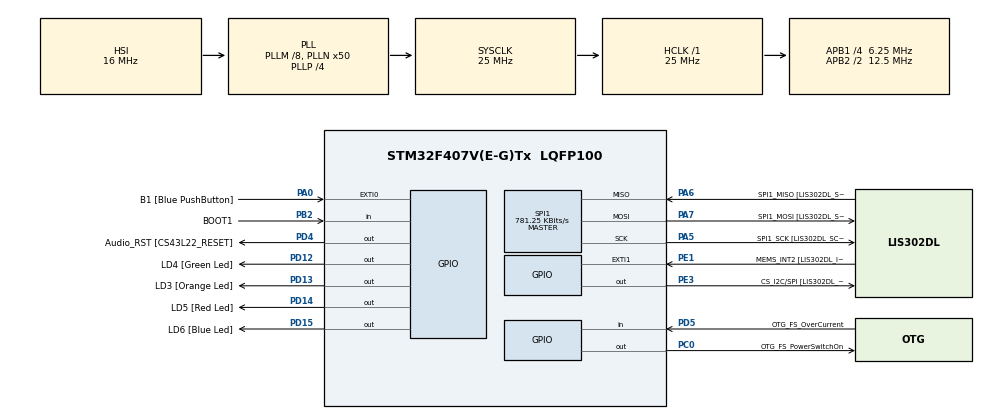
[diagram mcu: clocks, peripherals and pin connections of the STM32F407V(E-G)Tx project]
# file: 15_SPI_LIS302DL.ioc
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Mcu.Family=STM32F4
Mcu.Name=STM32F407V(E-G)Tx
Mcu.Package=LQFP100
NVIC.PriorityGroup=NVIC_PRIORITYGROUP_0
PA0-WKUP.GPIO_Label=B1 [Blue PushButton]
PA0-WKUP.Signal=GPXTI0
PA10.GPIO_Label=OTG_FS_ID
PA10.GPIO_Mode=GPIO_MODE_AF_PP
PA10.GPIO_PuPd=GPIO_NOPULL
PA10.GPIO_Speed=GPIO_SPEED_FREQ_LOW
PA10.Signal=USB_OTG_FS_ID
PA11.GPIO_Label=OTG_FS_DM
PA11.GPIO_Mode=GPIO_MODE_AF_PP
PA11.GPIO_PuPd=GPIO_NOPULL
PA11.GPIO_Speed=GPIO_SPEED_FREQ_LOW
PA11.Signal=USB_OTG_FS_DM
PA12.GPIO_Label=OTG_FS_DP
PA12.GPIO_Mode=GPIO_MODE_AF_PP
PA12.GPIO_PuPd=GPIO_NOPULL
PA12.GPIO_Speed=GPIO_SPEED_FREQ_LOW
PA12.Signal=USB_OTG_FS_DP
PA13.GPIO_Label=SWDIO
PA13.Signal=SYS_JTMS-SWDIO
PA14.GPIO_Label=SWCLK
PA14.Signal=SYS_JTCK-SWCLK
PA4.GPIO_Label=I2S3_WS [CS43L22_LRCK]
PA4.GPIO_Mode=GPIO_MODE_AF_PP
PA4.GPIO_PuPd=GPIO_NOPULL
PA4.GPIO_Speed=GPIO_SPEED_FREQ_LOW
PA4.Signal=I2S3_WS
PA5.GPIO_Label=SPI1_SCK [LIS302DL_SCL/SPC]
PA5.GPIO_Mode=GPIO_MODE_AF_PP
PA5.GPIO_PuPd=GPIO_NOPULL
PA5.GPIO_Speed=GPIO_SPEED_FREQ_LOW
PA5.Mode=Full_Duplex_Master
PA5.Signal=SPI1_SCK
PA6.GPIO_Label=SPI1_MISO [LIS302DL_SDO]
PA6.GPIO_Mode=GPIO_MODE_AF_PP
PA6.GPIO_PuPd=GPIO_NOPULL
PA6.GPIO_Speed=GPIO_SPEED_FREQ_LOW
PA6.Mode=Full_Duplex_Master
PA6.Signal=SPI1_MISO
PA7.GPIO_Label=SPI1_MOSI [LIS302DL_SDA/SDI/SDO]
PA7.GPIO_Mode=GPIO_MODE_AF_PP
PA7.GPIO_PuPd=GPIO_NOPULL
PA7.GPIO_Speed=GPIO_SPEED_FREQ_LOW
PA7.Mode=Full_Duplex_Master
PA7.Signal=SPI1_MOSI
PA9.GPIO_Label=VBUS_FS
PA9.GPIO_Mode=GPIO_MODE_INPUT
PA9.GPIO_PuPd=GPIO_NOPULL
PA9.Signal=USB_OTG_FS_VBUS
PB10.GPIO_Label=CLK_IN [MP45DT02_CLK]
PB10.GPIO_Mode=GPIO_MODE_AF_PP
PB10.GPIO_PuPd=GPIO_NOPULL
PB10.GPIO_Speed=GPIO_SPEED_FREQ_LOW
PB10.Signal=I2S2_CK
PB2.GPIO_Label=BOOT1
PB2.GPIO_Mode=GPIO_MODE_INPUT
PB2.GPIO_PuPd=GPIO_NOPULL
PB2.Signal=GPIO_Input
PB3.GPIO_Label=SWO
PB3.Signal=SYS_JTDO-SWO
PB6.GPIO_Label=Audio_SCL [CS43L22_SCL]
PB6.GPIO_Mode=GPIO_MODE_AF_OD
PB6.GPIO_PuPd=GPIO_NOPULL
PB6.GPIO_Speed=GPIO_SPEED_FREQ_LOW
PB6.Signal=I2C1_SCL
PB9.GPIO_Label=Audio_SDA [CS43L22_SDA]
PB9.GPIO_Mode=GPIO_MODE_AF_OD
PB9.GPIO_PuPd=GPIO_NOPULL
PB9.GPIO_Speed=GPIO_SPEED_FREQ_LOW
PB9.Signal=I2C1_SDA
PC0.GPIO_Label=OTG_FS_PowerSwitchOn
PC0.GPIO_PuPd=GPIO_NOPULL
PC0.GPIO_Speed=GPIO_SPEED_FREQ_LOW
PC0.PinState=GPIO_PIN_SET
PC0.Signal=GPIO_Output
PC10.GPIO_Label=I2S3_SCK [CS43L22_SCLK]
PC10.GPIO_Mode=GPIO_MODE_AF_PP
PC10.GPIO_PuPd=GPIO_NOPULL
PC10.GPIO_Speed=GPIO_SPEED_FREQ_LOW
PC10.Signal=I2S3_CK
PC12.GPIO_Label=I2S3_SD [CS43L22_SDIN]
PC12.GPIO_Mode=GPIO_MODE_AF_PP
PC12.GPIO_PuPd=GPIO_NOPULL
PC12.GPIO_Speed=GPIO_SPEED_FREQ_LOW
PC12.Signal=I2S3_SD
PC14-OSC32_IN.GPIO_Label=PC14-OSC32_IN
PC14-OSC32_IN.Signal=RCC_OSC32_IN
PC15-OSC32_OUT.GPIO_Label=PC15-OSC32_OUT
PC15-OSC32_OUT.Signal=RCC_OSC32_OUT
PC3.GPIO_Label=PDM_OUT [MP45DT02_DOUT]
PC3.GPIO_Mode=GPIO_MODE_AF_PP
PC3.GPIO_PuPd=GPIO_NOPULL
PC3.GPIO_Speed=GPIO_SPEED_FREQ_LOW
PC3.Signal=I2S2_SD
PC7.GPIO_Label=I2S3_MCK [CS43L22_MCLK]
PC7.GPIO_Mode=GPIO_MODE_AF_PP
PC7.GPIO_PuPd=GPIO_NOPULL
PC7.GPIO_Speed=GPIO_SPEED_FREQ_LOW
PC7.Signal=I2S3_MCK
PD12.GPIO_Label=LD4 [Green Led]
PD12.GPIO_PuPd=GPIO_NOPULL
PD12.GPIO_Speed=GPIO_SPEED_FREQ_LOW
PD12.Signal=GPIO_Output
PD13.GPIO_Label=LD3 [Orange Led]
PD13.GPIO_PuPd=GPIO_NOPULL
PD13.GPIO_Speed=GPIO_SPEED_FREQ_LOW
PD13.Signal=GPIO_Output
PD14.GPIO_Label=LD5 [Red Led]
PD14.GPIO_PuPd=GPIO_NOPULL
PD14.GPIO_Speed=GPIO_SPEED_FREQ_LOW
PD14.Signal=GPIO_Output
PD15.GPIO_Label=LD6 [Blue Led]
PD15.GPIO_PuPd=GPIO_NOPULL
PD15.GPIO_Speed=GPIO_SPEED_FREQ_LOW
PD15.Signal=GPIO_Output
PD4.GPIO_Label=Audio_RST [CS43L22_RESET]
PD4.GPIO_PuPd=GPIO_NOPULL
PD4.GPIO_Speed=GPIO_SPEED_FREQ_LOW
PD4.Signal=GPIO_Output
PD5.GPIO_Label=OTG_FS_OverCurrent
PD5.GPIO_Mode=GPIO_MODE_INPUT
PD5.GPIO_PuPd=GPIO_NOPULL
PD5.Signal=GPIO_Input
PE1.GPIO_Label=MEMS_INT2 [LIS302DL_INT2]
PE1.GPIO_ModeDefaultEXTI=GPIO_MODE_EVT_RISING
PE1.GPIO_PuPd=GPIO_NOPULL
PE1.Signal=GPXTI1
PE3.GPIO_Label=CS_I2C/SPI [LIS302DL_CS_I2C/SPI]
PE3.GPIO_PuPd=GPIO_NOPULL
PE3.GPIO_Speed=GPIO_SPEED_FREQ_LOW
PE3.Signal=GPIO_Output
PH0-OSC_IN.GPIO_Label=PH0-OSC_IN
PH0-OSC_IN.Signal=RCC_OSC_IN
PH1-OSC_OUT.GPIO_Label=PH1-OSC_OUT
PH1-OSC_OUT.Signal=RCC_OSC_OUT
ProjectManager.HeapSize=0x200
ProjectManager.StackSize=0x400
ProjectManager.TargetToolchain=STM32CubeIDE
RCC.48MHZClocksFreq_Value=14285714.285714285
RCC.AHBFreq_Value=25000000
RCC.APB1CLKDivider=RCC_HCLK_DIV4
RCC.APB1Freq_Value=6250000
RCC.APB1TimFreq_Value=12500000
RCC.APB2CLKDivider=RCC_HCLK_DIV2
RCC.APB2Freq_Value=12500000
RCC.APB2TimFreq_Value=25000000
RCC.CortexFreq_Value=25000000
RCC.HCLKFreq_Value=25000000
RCC.HSE_VALUE=8000000
RCC.HSI_VALUE=16000000
RCC.LSE_VALUE=32768
RCC.PLLM=8
RCC.PLLN=50
RCC.PLLP=RCC_PLLP_DIV4
RCC.PLLQ=7
RCC.SYSCLKFreq_VALUE=25000000
RCC.SYSCLKSource=RCC_SYSCLKSOURCE_PLLCLK
RCC.VCOOutputFreq_Value=100000000
SPI1.BaudRatePrescaler=SPI_BAUDRATEPRESCALER_16
SPI1.CalculateBaudRate=781.25 KBits/s
SPI1.Direction=SPI_DIRECTION_2LINES
SPI1.Mode=SPI_MODE_MASTER
SPI1.VirtualType=VM_MASTER
board=STM32F407G-DISC1

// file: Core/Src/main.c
/* USER CODE BEGIN Header */
/**
  ******************************************************************************
  * @file           : main.c
  * @brief          : Main program body
  ******************************************************************************
  * @attention
  *
  * Copyright (c) 2026 STMicroelectronics.
  * All rights reserved.
  *
  * This software is licensed under terms that can be found in the LICENSE file
  * in the root directory of this software component.
  * If no LICENSE file comes with this software, it is provided AS-IS.
  *
  ******************************************************************************
  */
/* USER CODE END Header */
#include "main.h"

SPI_HandleTypeDef hspi1;
int16_t X_Axis,Y_Axis,Z_Axis;
int8_t X_L,X_H,Y_L,Y_H,Z_L,Z_H;

/* USER CODE BEGIN PV */
uint8_t SPI_Read_MEMS(uint8_t address)
{
	uint8_t txData[1]={0},rxData[1]={0};

	txData[0]= address | 0x80;
	// Veri iletisimi baslar PE3 LOW'a cekilince.1- CS pinini LOW'a cek.
	HAL_GPIO_WritePin(GPIOE,GPIO_PIN_3,GPIO_PIN_RESET);
	// 2- Okunacak verinin adresini gonder.
	HAL_SPI_Transmit(&hspi1,txData,1,1000);
	// 3- Istenilen veriyi al.
	HAL_SPI_Receive(&hspi1,rxData,1,1000);
	// 4- CS pinini HIGH'a yukselt.
	HAL_GPIO_WritePin(GPIOE,GPIO_PIN_3,GPIO_PIN_SET); // Veri iletisimi tamamlandi.

	return rxData[0];
}
void SPI_Write_MEMS(uint8_t address,uint8_t data)
{
	uint8_t txData[2]={0};
	txData[0]= address; // yazma islemi icin bit 0 dir.
	txData[1]=data;
	// 1- CS  pini LOW a cekilir.
	HAL_GPIO_WritePin(GPIOE,GPIO_PIN_3,GPIO_PIN_RESET);
	// 2- Yazilacak veri gonderilir.
	HAL_SPI_Transmit(&hspi1,txData,2,HAL_MAX_DELAY);  // 2 Bytelik bir dizi gonderiyoruz demek.
	// 3- CS pinini HIGH yapariz.
	HAL_GPIO_WritePin(GPIOE,GPIO_PIN_3,GPIO_PIN_SET);

}

/* USER CODE END PV */

void SystemClock_Config(void);
static void MX_GPIO_Init(void);
static void MX_SPI1_Init(void);

int main(void)
{

  /* MCU Configuration--------------------------------------------------------*/

  /* Reset of all peripherals, Initializes the Flash interface and the Systick. */
  HAL_Init();

  /* Configure the system clock */
  SystemClock_Config();

  /* Initialize all configured peripherals */
  MX_GPIO_Init();
  MX_SPI1_Init();
  /* USER CODE BEGIN 2 */
  uint8_t WhoAmI=0;
  WhoAmI= SPI_Read_MEMS(0x0F); // Who Am I isimli register in adresi gonderilir.

  uint8_t ctrl_reg4=0;
  SPI_Write_MEMS(0x20,0x57);  // ivme sensorunun 50 Hz de calismasi icin  0101 0111  normalde default olsa 0000 0111 defaultta 7 donerdi
  ctrl_reg4=SPI_Read_MEMS(0x20);

  /* USER CODE END 2 */

  /* Infinite loop */
  while (1)
  {
	  X_L=SPI_Read_MEMS(0x28);
	  X_H=SPI_Read_MEMS(0x29);
	  X_Axis=(X_H<<8) | X_L;   //X_H i 8 bit sola kaydiririz.
	  Y_L=SPI_Read_MEMS(0x2A);
	  Y_H=SPI_Read_MEMS(0x2B);
	  Y_Axis=(Y_H<<8) | Y_L;   //Y_H i 8 bit sola kaydiririz.
	  Z_L=SPI_Read_MEMS(0x2C);
	  Z_H=SPI_Read_MEMS(0x2D);
	  Z_Axis=(Z_H<<8) | Z_L;   //Z_H i 8 bit sola kaydiririz.

  }
}

void SystemClock_Config(void)
{
  RCC_OscInitTypeDef RCC_OscInitStruct = {0};
  RCC_ClkInitTypeDef RCC_ClkInitStruct = {0};

  /** Configure the main internal regulator output voltage
  */
  __HAL_RCC_PWR_CLK_ENABLE();
  __HAL_PWR_VOLTAGESCALING_CONFIG(PWR_REGULATOR_VOLTAGE_SCALE1);

  /** Initializes the RCC Oscillators according to the specified parameters
  * in the RCC_OscInitTypeDef structure.
  */
  RCC_OscInitStruct.OscillatorType = RCC_OSCILLATORTYPE_HSI;
  RCC_OscInitStruct.HSIState = RCC_HSI_ON;
  RCC_OscInitStruct.HSICalibrationValue = RCC_HSICALIBRATION_DEFAULT;
  RCC_OscInitStruct.PLL.PLLState = RCC_PLL_ON;
  RCC_OscInitStruct.PLL.PLLSource = RCC_PLLSOURCE_HSI;
  RCC_OscInitStruct.PLL.PLLM = 8;
  RCC_OscInitStruct.PLL.PLLN = 50;
  RCC_OscInitStruct.PLL.PLLP = RCC_PLLP_DIV4;
  RCC_OscInitStruct.PLL.PLLQ = 7;
  if (HAL_RCC_OscConfig(&RCC_OscInitStruct) != HAL_OK)
  {
    Error_Handler();
  }

  /** Initializes the CPU, AHB and APB buses clocks
  */
  RCC_ClkInitStruct.ClockType = RCC_CLOCKTYPE_HCLK|RCC_CLOCKTYPE_SYSCLK
                              |RCC_CLOCKTYPE_PCLK1|RCC_CLOCKTYPE_PCLK2;
  RCC_ClkInitStruct.SYSCLKSource = RCC_SYSCLKSOURCE_PLLCLK;
  RCC_ClkInitStruct.AHBCLKDivider = RCC_SYSCLK_DIV1;
  RCC_ClkInitStruct.APB1CLKDivider = RCC_HCLK_DIV4;
  RCC_ClkInitStruct.APB2CLKDivider = RCC_HCLK_DIV2;

  if (HAL_RCC_ClockConfig(&RCC_ClkInitStruct, FLASH_LATENCY_0) != HAL_OK)
  {
    Error_Handler();
  }
}

static void MX_SPI1_Init(void)
{

  /* SPI1 parameter configuration*/
  hspi1.Instance = SPI1;
  hspi1.Init.Mode = SPI_MODE_MASTER;
  hspi1.Init.Direction = SPI_DIRECTION_2LINES;
  hspi1.Init.DataSize = SPI_DATASIZE_8BIT;
  hspi1.Init.CLKPolarity = SPI_POLARITY_LOW;
  hspi1.Init.CLKPhase = SPI_PHASE_1EDGE;
  hspi1.Init.NSS = SPI_NSS_SOFT;
  hspi1.Init.BaudRatePrescaler = SPI_BAUDRATEPRESCALER_16;
  hspi1.Init.FirstBit = SPI_FIRSTBIT_MSB;
  hspi1.Init.TIMode = SPI_TIMODE_DISABLE;
  hspi1.Init.CRCCalculation = SPI_CRCCALCULATION_DISABLE;
  hspi1.Init.CRCPolynomial = 10;
  if (HAL_SPI_Init(&hspi1) != HAL_OK)
  {
    Error_Handler();
  }

}

static void MX_GPIO_Init(void)
{
  GPIO_InitTypeDef GPIO_InitStruct = {0};

  /* GPIO Ports Clock Enable */
  __HAL_RCC_GPIOE_CLK_ENABLE();
  __HAL_RCC_GPIOC_CLK_ENABLE();
  __HAL_RCC_GPIOH_CLK_ENABLE();
  __HAL_RCC_GPIOA_CLK_ENABLE();
  __HAL_RCC_GPIOB_CLK_ENABLE();
  __HAL_RCC_GPIOD_CLK_ENABLE();

  /*Configure GPIO pin Output Level */
  HAL_GPIO_WritePin(CS_I2C_SPI_GPIO_Port, CS_I2C_SPI_Pin, GPIO_PIN_RESET);

  /*Configure GPIO pin Output Level */
  HAL_GPIO_WritePin(OTG_FS_PowerSwitchOn_GPIO_Port, OTG_FS_PowerSwitchOn_Pin, GPIO_PIN_SET);

  /*Configure GPIO pin Output Level */
  HAL_GPIO_WritePin(GPIOD, LD4_Pin|LD3_Pin|LD5_Pin|LD6_Pin
                          |Audio_RST_Pin, GPIO_PIN_RESET);

  /*Configure GPIO pin : CS_I2C_SPI_Pin */
  GPIO_InitStruct.Pin = CS_I2C_SPI_Pin;
  GPIO_InitStruct.Mode = GPIO_MODE_OUTPUT_PP;
  GPIO_InitStruct.Pull = GPIO_NOPULL;
  GPIO_InitStruct.Speed = GPIO_SPEED_FREQ_LOW;
  HAL_GPIO_Init(CS_I2C_SPI_GPIO_Port, &GPIO_InitStruct);

  /*Configure GPIO pin : OTG_FS_PowerSwitchOn_Pin */
  GPIO_InitStruct.Pin = OTG_FS_PowerSwitchOn_Pin;
  GPIO_InitStruct.Mode = GPIO_MODE_OUTPUT_PP;
  GPIO_InitStruct.Pull = GPIO_NOPULL;
  GPIO_InitStruct.Speed = GPIO_SPEED_FREQ_LOW;
  HAL_GPIO_Init(OTG_FS_PowerSwitchOn_GPIO_Port, &GPIO_InitStruct);

  /*Configure GPIO pin : PDM_OUT_Pin */
  GPIO_InitStruct.Pin = PDM_OUT_Pin;
  GPIO_InitStruct.Mode = GPIO_MODE_AF_PP;
  GPIO_InitStruct.Pull = GPIO_NOPULL;
  GPIO_InitStruct.Speed = GPIO_SPEED_FREQ_LOW;
  GPIO_InitStruct.Alternate = GPIO_AF5_SPI2;
  HAL_GPIO_Init(PDM_OUT_GPIO_Port, &GPIO_InitStruct);

  /*Configure GPIO pin : B1_Pin */
  GPIO_InitStruct.Pin = B1_Pin;
  GPIO_InitStruct.Mode = GPIO_MODE_IT_RISING;
  GPIO_InitStruct.Pull = GPIO_NOPULL;
  HAL_GPIO_Init(B1_GPIO_Port, &GPIO_InitStruct);

  /*Configure GPIO pin : I2S3_WS_Pin */
  GPIO_InitStruct.Pin = I2S3_WS_Pin;
  GPIO_InitStruct.Mode = GPIO_MODE_AF_PP;
  GPIO_InitStruct.Pull = GPIO_NOPULL;
  GPIO_InitStruct.Speed = GPIO_SPEED_FREQ_LOW;
  GPIO_InitStruct.Alternate = GPIO_AF6_SPI3;
  HAL_GPIO_Init(I2S3_WS_GPIO_Port, &GPIO_InitStruct);

  /*Configure GPIO pin : BOOT1_Pin */
  GPIO_InitStruct.Pin = BOOT1_Pin;
  GPIO_InitStruct.Mode = GPIO_MODE_INPUT;
  GPIO_InitStruct.Pull = GPIO_NOPULL;
  HAL_GPIO_Init(BOOT1_GPIO_Port, &GPIO_InitStruct);

  /*Configure GPIO pin : CLK_IN_Pin */
  GPIO_InitStruct.Pin = CLK_IN_Pin;
  GPIO_InitStruct.Mode = GPIO_MODE_AF_PP;
  GPIO_InitStruct.Pull = GPIO_NOPULL;
  GPIO_InitStruct.Speed = GPIO_SPEED_FREQ_LOW;
  GPIO_InitStruct.Alternate = GPIO_AF5_SPI2;
  HAL_GPIO_Init(CLK_IN_GPIO_Port, &GPIO_InitStruct);

  /*Configure GPIO pins : LD4_Pin LD3_Pin LD5_Pin LD6_Pin
                           Audio_RST_Pin */
  GPIO_InitStruct.Pin = LD4_Pin|LD3_Pin|LD5_Pin|LD6_Pin
                          |Audio_RST_Pin;
  GPIO_InitStruct.Mode = GPIO_MODE_OUTPUT_PP;
  GPIO_InitStruct.Pull = GPIO_NOPULL;
  GPIO_InitStruct.Speed = GPIO_SPEED_FREQ_LOW;
  HAL_GPIO_Init(GPIOD, &GPIO_InitStruct);

  /*Configure GPIO pins : I2S3_MCK_Pin I2S3_SCK_Pin I2S3_SD_Pin */
  GPIO_InitStruct.Pin = I2S3_MCK_Pin|I2S3_SCK_Pin|I2S3_SD_Pin;
  GPIO_InitStruct.Mode = GPIO_MODE_AF_PP;
  GPIO_InitStruct.Pull = GPIO_NOPULL;
  GPIO_InitStruct.Speed = GPIO_SPEED_FREQ_LOW;
  GPIO_InitStruct.Alternate = GPIO_AF6_SPI3;
  HAL_GPIO_Init(GPIOC, &GPIO_InitStruct);

  /*Configure GPIO pin : VBUS_FS_Pin */
  GPIO_InitStruct.Pin = VBUS_FS_Pin;
  GPIO_InitStruct.Mode = GPIO_MODE_INPUT;
  GPIO_InitStruct.Pull = GPIO_NOPULL;
  HAL_GPIO_Init(VBUS_FS_GPIO_Port, &GPIO_InitStruct);

  /*Configure GPIO pins : OTG_FS_ID_Pin OTG_FS_DM_Pin OTG_FS_DP_Pin */
  GPIO_InitStruct.Pin = OTG_FS_ID_Pin|OTG_FS_DM_Pin|OTG_FS_DP_Pin;
  GPIO_InitStruct.Mode = GPIO_MODE_AF_PP;
  GPIO_InitStruct.Pull = GPIO_NOPULL;
  GPIO_InitStruct.Speed = GPIO_SPEED_FREQ_LOW;
  GPIO_InitStruct.Alternate = GPIO_AF10_OTG_FS;
  HAL_GPIO_Init(GPIOA, &GPIO_InitStruct);

  /*Configure GPIO pin : OTG_FS_OverCurrent_Pin */
  GPIO_InitStruct.Pin = OTG_FS_OverCurrent_Pin;
  GPIO_InitStruct.Mode = GPIO_MODE_INPUT;
  GPIO_InitStruct.Pull = GPIO_NOPULL;
  HAL_GPIO_Init(OTG_FS_OverCurrent_GPIO_Port, &GPIO_InitStruct);

  /*Configure GPIO pins : Audio_SCL_Pin Audio_SDA_Pin */
  GPIO_InitStruct.Pin = Audio_SCL_Pin|Audio_SDA_Pin;
  GPIO_InitStruct.Mode = GPIO_MODE_AF_OD;
  GPIO_InitStruct.Pull = GPIO_NOPULL;
  GPIO_InitStruct.Speed = GPIO_SPEED_FREQ_LOW;
  GPIO_InitStruct.Alternate = GPIO_AF4_I2C1;
  HAL_GPIO_Init(GPIOB, &GPIO_InitStruct);

  /*Configure GPIO pin : MEMS_INT2_Pin */
  GPIO_InitStruct.Pin = MEMS_INT2_Pin;
  GPIO_InitStruct.Mode = GPIO_MODE_EVT_RISING;
  GPIO_InitStruct.Pull = GPIO_NOPULL;
  HAL_GPIO_Init(MEMS_INT2_GPIO_Port, &GPIO_InitStruct);

}

void Error_Handler(void)
{
  __disable_irq();
  while (1)
  {
  }
}
